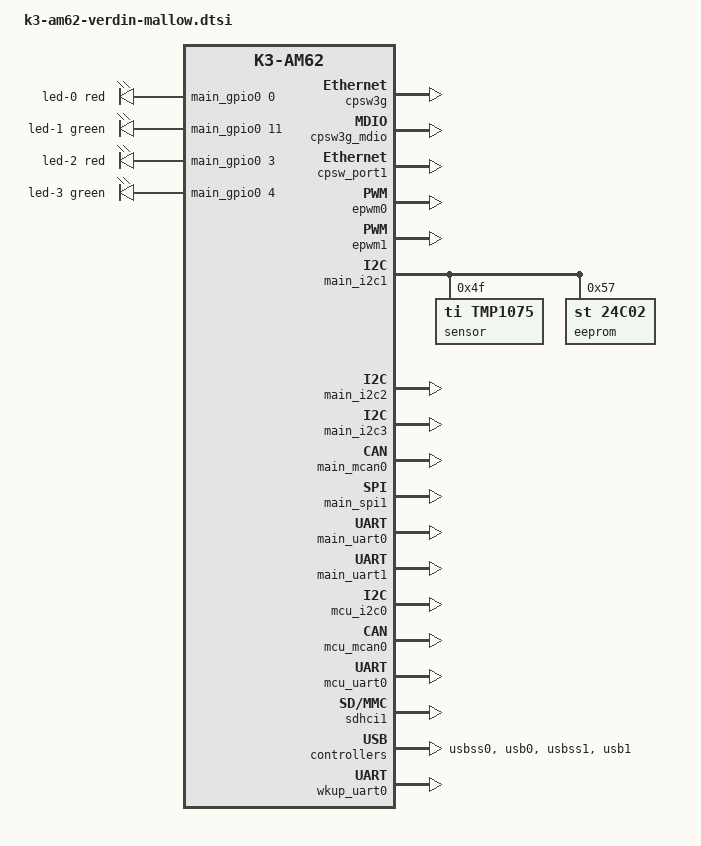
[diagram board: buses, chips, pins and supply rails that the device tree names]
// SPDX-License-Identifier: GPL-2.0-or-later OR MIT
/*
 * Copyright 2023 Toradex
 *
 * Common dtsi for Verdin AM62 SoM on Mallow carrier board
 *
 * https://www.toradex.com/computer-on-modules/verdin-arm-family/ti-am62
 * https://www.toradex.com/products/carrier-board/mallow-carrier-board
 */

#include <dt-bindings/leds/common.h>

/ {
	leds {
		compatible = "gpio-leds";
		pinctrl-names = "default";
		pinctrl-0 = <&pinctrl_qspi1_clk_gpio>,
			    <&pinctrl_qspi1_cs_gpio>,
			    <&pinctrl_qspi1_io0_gpio>,
			    <&pinctrl_qspi1_io1_gpio>;

		/* SODIMM 52 - USER_LED_1_RED */
		led-0 {
			color = <LED_COLOR_ID_RED>;
			function = LED_FUNCTION_DEBUG;
			function-enumerator = <1>;
			gpios = <&main_gpio0 0 GPIO_ACTIVE_HIGH>;
		};

		/* SODIMM 54 - USER_LED_1_GREEN */
		led-1 {
			color = <LED_COLOR_ID_GREEN>;
			function = LED_FUNCTION_DEBUG;
			function-enumerator = <1>;
			gpios = <&main_gpio0 11 GPIO_ACTIVE_HIGH>;
		};

		/* SODIMM 56 - USER_LED_2_RED */
		led-2 {
			color = <LED_COLOR_ID_RED>;
			function = LED_FUNCTION_DEBUG;
			function-enumerator = <2>;
			gpios = <&main_gpio0 3 GPIO_ACTIVE_HIGH>;
		};

		/* SODIMM 58 - USER_LED_2_GREEN */
		led-3 {
			color = <LED_COLOR_ID_GREEN>;
			function = LED_FUNCTION_DEBUG;
			function-enumerator = <2>;
			gpios = <&main_gpio0 4 GPIO_ACTIVE_HIGH>;
		};
	};
};

/* Verdin ETH */
&cpsw3g {
	status = "okay";
};

/* Verdin MDIO */
&cpsw3g_mdio {
	status = "okay";
};

/* Verdin ETH_1*/
&cpsw_port1 {
	status = "okay";
};

/* Verdin PWM_1 and PWM_2*/
&epwm0 {
	status = "okay";
};

/* Verdin PWM_3 DSI */
&epwm1 {
	status = "okay";
};

&main_gpio0 {
	pinctrl-names = "default";
	pinctrl-0 = <&pinctrl_ctrl_sleep_moci>,
		    <&pinctrl_gpio_1>,
		    <&pinctrl_gpio_2>,
		    <&pinctrl_gpio_3>,
		    <&pinctrl_gpio_4>;
};

/* Verdin I2C_1 */
&main_i2c1 {
	status = "okay";

	/* Temperature sensor */
	sensor@4f {
		compatible = "ti,tmp1075";
		reg = <0x4f>;
	};

	/* EEPROM */
	eeprom@57 {
		compatible = "st,24c02", "atmel,24c02";
		reg = <0x57>;
		pagesize = <16>;
	};
};

/* Verdin I2C_2 DSI */
&main_i2c2 {
	status = "okay";
};

/* Verdin I2C_4 CSI */
&main_i2c3 {
	status = "okay";
};

/* Verdin CAN_1 */
&main_mcan0 {
	status = "okay";
};

/* Verdin SPI_1 */
&main_spi1 {
	pinctrl-0 = <&pinctrl_spi1>,
		    <&pinctrl_spi1_cs0>,
		    <&pinctrl_qspi1_cs2_gpio>;
	cs-gpios = <0>, <&main_gpio0 12 GPIO_ACTIVE_LOW>;
	status = "okay";
};

/* Verdin UART_3 */
&main_uart0 {
	status = "okay";
};

/* Verdin UART_1 */
&main_uart1 {
	status = "okay";
};

/* Verdin I2C_3_HDMI */
&mcu_i2c0 {
	status = "okay";
};

/* Verdin CAN_2 */
&mcu_mcan0 {
	status = "okay";
};

/* Verdin UART_4 */
&mcu_uart0 {
	status = "okay";
};

/* Verdin SD_1 */
&sdhci1 {
	status = "okay";
};

/* Verdin USB_1 */
&usbss0 {
	status = "okay";
};

&usb0 {
	status = "okay";
};

/* Verdin USB_2 */
&usbss1 {
	status = "okay";
};

&usb1 {
	status = "okay";
};

/* Verdin CTRL_WAKE1_MICO# */
&verdin_gpio_keys {
	status = "okay";
};

/* Verdin UART_2 */
&wkup_uart0 {
	status = "okay";
};
